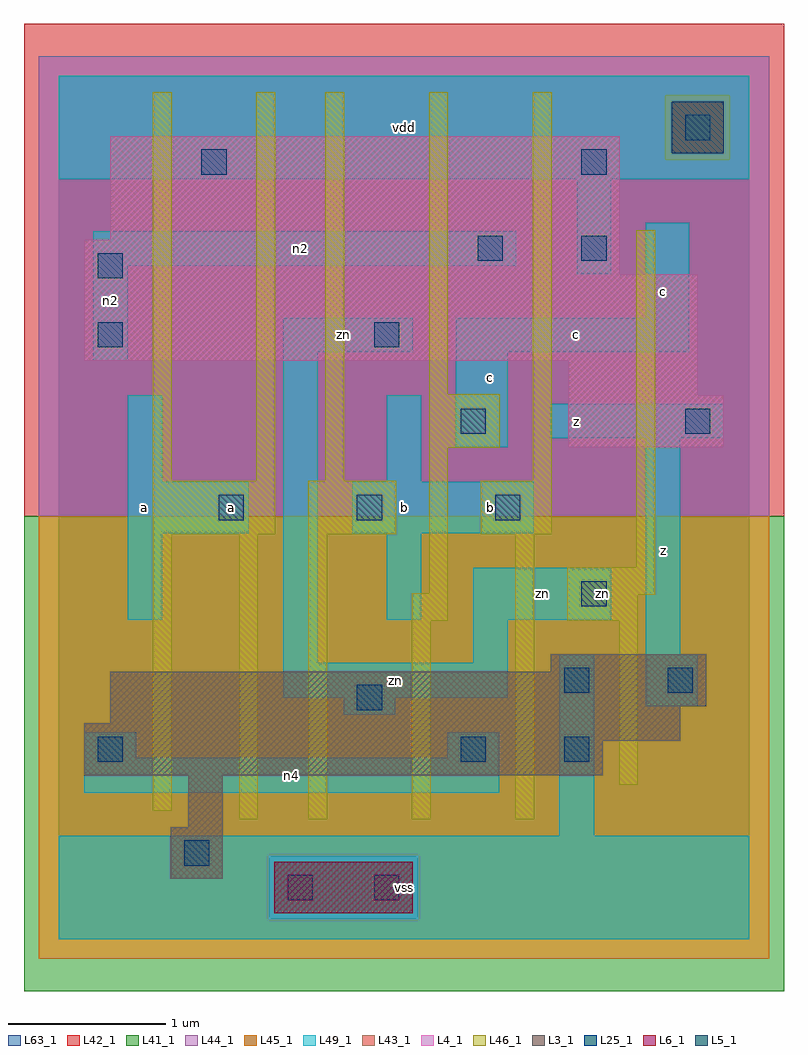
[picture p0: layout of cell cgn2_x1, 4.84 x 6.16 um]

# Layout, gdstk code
import gdstk
lib = gdstk.Library(unit=1e-6, precision=1e-09)
def R(c, l, rs):  # rectangles x0, y0, x1, y1
    for r in rs: c.add(gdstk.rectangle(r[:2], r[2:], *l))
def A(c, l, x, y, w, h, nx, ny, dx, dy):  # array of equal rectangles
    R(c, l, [(x+i*dx, y+j*dy, x+i*dx+w, y+j*dy+h) for i in range(nx) for j in range(ny)])
L3_1 = (3, 1)
L4_1 = (4, 1)
L5_1 = (5, 1)
L6_1 = (6, 1)
L25_1 = (25, 1)
L41_1 = (41, 1)
L42_1 = (42, 1)
L43_1 = (43, 1)
L44_1 = (44, 1)
L45_1 = (45, 1)
L46_1 = (46, 1)
L49_1 = (49, 1)
L63_1 = (63, 1)

cgn2_x1 = lib.new_cell('cgn2_x1')
R(cgn2_x1, L3_1, [(0.715,0.385,1.045,0.715), (0.825,0.715,1.045,1.045), (0.165,1.045,3.465,1.265), (0.165,1.265,3.96,1.375), (0.33,1.375,3.96,1.485), (0.33,1.485,4.125,1.705), (3.135,1.705,4.125,1.815)])
R(cgn2_x1, L4_1, [(3.245,3.135,4.235,3.465), (3.245,3.465,4.07,3.685), (0.165,3.685,4.07,4.235), (0.165,4.235,3.575,4.455), (0.33,4.455,3.575,5.115)])
R(cgn2_x1, L5_1, [(3.905,5.005,4.235,5.335)])
R(cgn2_x1, L6_1, [(1.375,0.165,2.255,0.495)])
A(cgn2_x1, L25_1, 1.02, 2.67, 0.16, 0.16, 3, 1, 0.88, 0)
R(cgn2_x1, L25_1, [(1.46,0.25,1.62,0.41), (2.01,0.25,2.17,0.41), (0.8,0.47,0.96,0.63), (0.25,1.13,0.41,1.29), (2.56,1.13,2.72,1.29), (3.22,1.13,3.38,1.29), (1.9,1.46,2.06,1.62), (3.22,1.57,3.38,1.73), (3.88,1.57,4.04,1.73), (3.33,2.12,3.49,2.28), (2.56,3.22,2.72,3.38), (3.99,3.22,4.15,3.38), (0.25,3.77,0.41,3.93), (2.01,3.77,2.17,3.93), (0.25,4.21,0.41,4.37), (2.67,4.32,2.83,4.48), (3.33,4.32,3.49,4.48), (0.91,4.87,1.07,5.03), (3.33,4.87,3.49,5.03), (3.99,5.09,4.15,5.25)])
R(cgn2_x1, L41_1, [(-0.22,-0.33,4.62,2.695)])
R(cgn2_x1, L42_1, [(-0.22,2.695,4.62,5.83)])
R(cgn2_x1, L43_1, [(1.375,0.165,2.255,0.495), (0.715,0.385,1.045,0.715), (0.825,0.715,1.045,1.045), (0.165,1.045,3.465,1.265), (0.165,1.265,3.96,1.375), (0.33,1.375,3.96,1.485), (0.33,1.485,4.125,1.705), (3.135,1.705,4.125,1.815), (3.245,3.135,4.235,3.465), (3.245,3.465,4.07,3.685), (0.165,3.685,4.07,4.235), (0.165,4.235,3.575,4.455), (0.33,4.455,3.575,5.115), (3.905,5.005,4.235,5.335)])
R(cgn2_x1, L44_1, [(1.335,0.125,2.295,0.535), (-0.125,2.695,4.525,4.965), (-0.125,4.965,3.865,5.375), (4.275,4.965,4.525,5.375), (-0.125,5.375,4.525,5.625)])
R(cgn2_x1, L45_1, [(-0.125,-0.125,4.525,0.125), (-0.125,0.125,1.335,0.535), (2.295,0.125,4.525,0.535), (-0.125,0.535,4.525,2.695), (3.865,4.965,4.275,5.375)])
R(cgn2_x1, L46_1, [(1.15,0.765,1.27,2.58), (1.59,0.765,1.71,2.58), (2.25,0.765,2.37,2.03), (2.91,0.765,3.03,2.58), (0.6,0.82,0.72,2.58), (3.57,0.985,3.69,2.03), (2.25,2.03,2.48,2.205), (3.24,2.03,3.69,2.195), (3.24,2.195,3.8,2.37), (2.36,2.205,2.48,3.13), (3.68,2.37,3.8,4.515), (0.6,2.58,1.38,2.92), (1.59,2.58,2.15,2.92), (2.69,2.58,3.14,2.92), (0.6,2.92,0.72,5.395), (1.26,2.92,1.38,5.395), (1.7,2.92,1.82,5.395), (3.02,2.92,3.14,5.395), (2.36,3.13,2.81,3.47), (2.36,3.47,2.48,5.395)])
R(cgn2_x1, L49_1, [(0,0,4.4,0.66), (3.19,0.66,3.41,1.815), (0.165,0.935,2.805,1.155), (0.165,1.155,0.495,1.32), (2.475,1.155,2.805,1.32), (1.815,1.43,2.145,1.54), (3.74,1.485,4.07,1.815), (1.43,1.54,2.86,1.76), (1.43,1.76,1.65,3.74), (2.64,1.76,2.86,2.035), (3.74,1.815,3.96,3.19), (0.44,2.035,0.66,2.585), (2.09,2.035,2.31,2.585), (2.64,2.035,3.52,2.365), (0.44,2.585,1.21,2.915), (1.87,2.585,3.025,2.915), (0.44,2.915,0.66,3.465), (2.09,2.915,2.31,3.465), (2.53,3.135,2.86,3.74), (3.135,3.19,4.235,3.41), (0.22,3.685,0.44,4.29), (1.43,3.74,2.255,3.96), (2.53,3.74,4.015,3.96), (3.74,3.96,4.015,4.565), (3.3,4.235,3.52,4.84), (0.22,4.29,2.915,4.51), (0,4.84,4.4,5.5)])
R(cgn2_x1, L63_1, [(0,0,4.4,5.5)])
cgn2_x1.add(gdstk.Label('zn', (3.465,2.2), layer=49, texttype=1))
cgn2_x1.add(gdstk.Label('a', (0.55,2.75), layer=49, texttype=1))
cgn2_x1.add(gdstk.Label('a', (0.55,2.75), layer=49, texttype=1))
cgn2_x1.add(gdstk.Label('n2', (0.33,4.07), layer=49, texttype=1))
cgn2_x1.add(gdstk.Label('a', (1.1,2.75), layer=49, texttype=1))
cgn2_x1.add(gdstk.Label('a', (1.1,2.75), layer=49, texttype=1))
cgn2_x1.add(gdstk.Label('vss', (2.2,0.33), layer=49, texttype=1))
cgn2_x1.add(gdstk.Label('vss', (2.2,0.33), layer=49, texttype=1))
cgn2_x1.add(gdstk.Label('b', (2.2,2.75), layer=49, texttype=1))
cgn2_x1.add(gdstk.Label('b', (2.2,2.75), layer=49, texttype=1))
cgn2_x1.add(gdstk.Label('zn', (1.815,3.85), layer=49, texttype=1))
cgn2_x1.add(gdstk.Label('vdd', (2.2,5.17), layer=49, texttype=1))
cgn2_x1.add(gdstk.Label('vdd', (2.2,5.17), layer=49, texttype=1))
cgn2_x1.add(gdstk.Label('n4', (1.485,1.045), layer=49, texttype=1))
cgn2_x1.add(gdstk.Label('zn', (2.145,1.65), layer=49, texttype=1))
cgn2_x1.add(gdstk.Label('zn', (3.08,2.2), layer=49, texttype=1))
cgn2_x1.add(gdstk.Label('b', (2.75,2.75), layer=49, texttype=1))
cgn2_x1.add(gdstk.Label('b', (2.75,2.75), layer=49, texttype=1))
cgn2_x1.add(gdstk.Label('z', (3.3,3.3), layer=49, texttype=1))
cgn2_x1.add(gdstk.Label('z', (3.3,3.3), layer=49, texttype=1))
cgn2_x1.add(gdstk.Label('c', (2.75,3.575), layer=49, texttype=1))
cgn2_x1.add(gdstk.Label('c', (2.75,3.575), layer=49, texttype=1))
cgn2_x1.add(gdstk.Label('c', (3.3,3.85), layer=49, texttype=1))
cgn2_x1.add(gdstk.Label('c', (3.3,3.85), layer=49, texttype=1))
cgn2_x1.add(gdstk.Label('n2', (1.54,4.4), layer=49, texttype=1))
cgn2_x1.add(gdstk.Label('z', (3.85,2.475), layer=49, texttype=1))
cgn2_x1.add(gdstk.Label('z', (3.85,2.475), layer=49, texttype=1))
cgn2_x1.add(gdstk.Label('c', (3.85,4.125), layer=49, texttype=1))
cgn2_x1.add(gdstk.Label('c', (3.85,4.125), layer=49, texttype=1))

lib.write_gds('cgn2_x1.gds')
